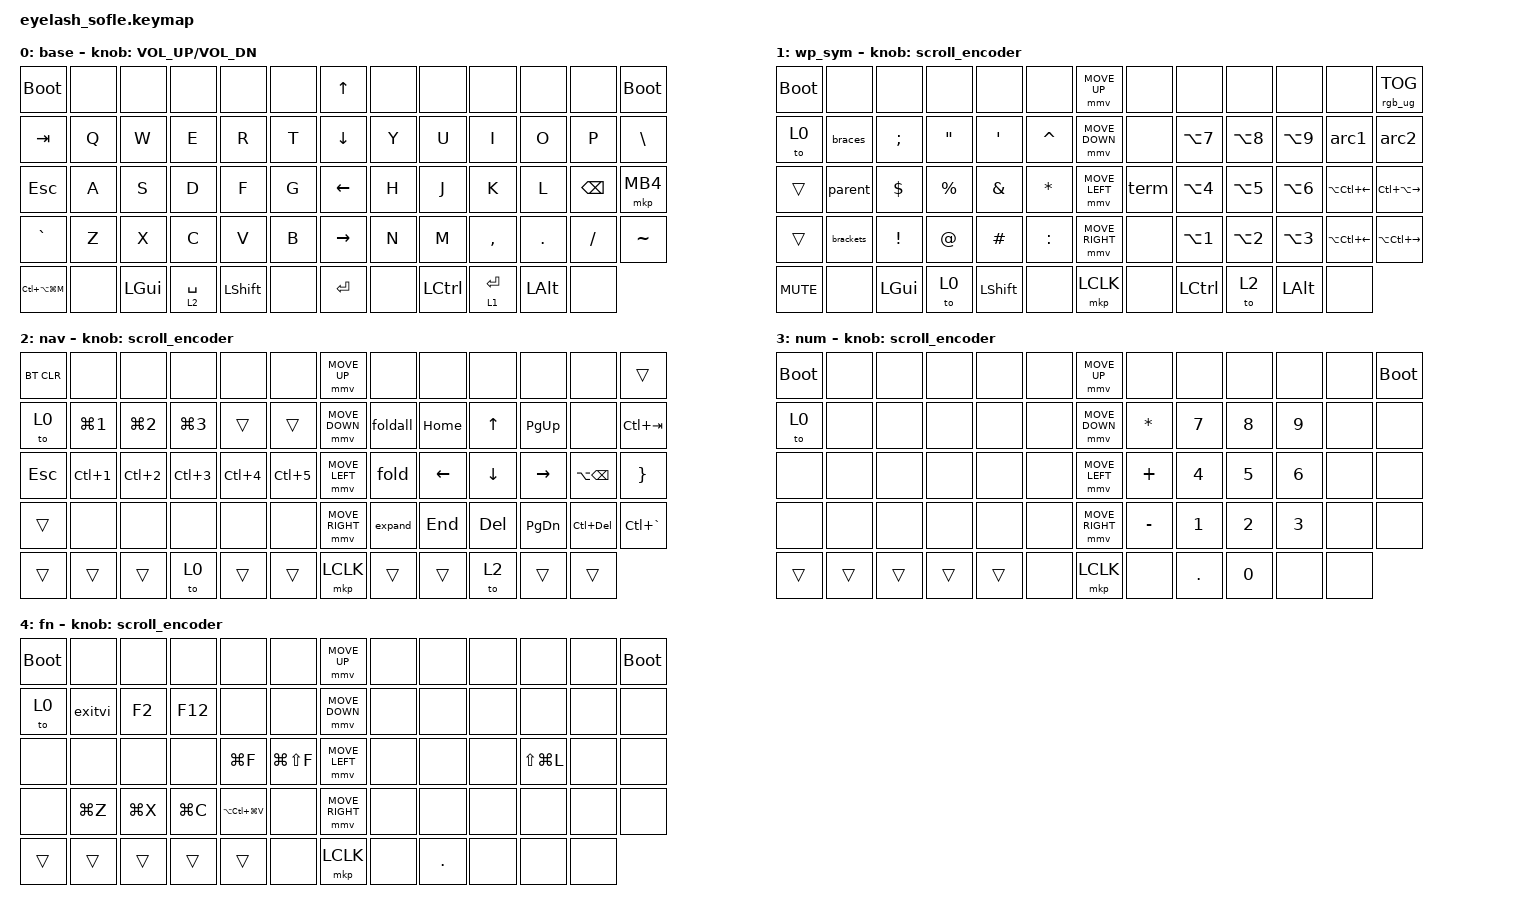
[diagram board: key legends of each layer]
#define ZMK_POINTING_DEFAULT_MOVE_VAL 1200  // 600
#define ZMK_POINTING_DEFAULT_SCRL_VAL 25   // 10

#include <input/processors.dtsi>
#include <zephyr/dt-bindings/input/input-event-codes.h>
#include <behaviors.dtsi>
#include <dt-bindings/zmk/bt.h>
#include <dt-bindings/zmk/keys.h>
#include <dt-bindings/zmk/pointing.h>
#include <dt-bindings/zmk/rgb.h>

&mmv_input_listener { input-processors = <&zip_xy_scaler 2 1>; };

&msc_input_listener { input-processors = <&zip_scroll_scaler 2 1>; };

&msc {
    acceleration-exponent = <1>;      // 0
    time-to-max-speed-ms = <100>;       // 300
    delay-ms = <0>;                   // 0
};

&mmv {
    time-to-max-speed-ms = <500>;
    acceleration-exponent = <1>;
    trigger-period-ms = <16>;
};

/ {
    scroll_encoder: scroll_encoder {
        compatible = "zmk,behavior-sensor-rotate";
        #sensor-binding-cells = <0>;
        bindings = <&msc SCRL_DOWN>, <&msc SCRL_UP>;

        tap-ms = <100>;
    };

    macros {
        braces: braces {
            compatible = "zmk,behavior-macro";
            #binding-cells = <0>;
            bindings = <&kp LEFT_BRACE &kp RBRC &kp LEFT_ARROW>;
            label = "BRACES";
        };

        parent: parent {
            compatible = "zmk,behavior-macro";
            #binding-cells = <0>;
            bindings = <&kp LEFT_PARENTHESIS &kp RIGHT_PARENTHESIS &kp LEFT_ARROW>;
            label = "PARENT";
        };

        brackets: sqbraces {
            compatible = "zmk,behavior-macro";
            #binding-cells = <0>;
            bindings = <&kp LEFT_BRACKET &kp RIGHT_BRACKET &kp LEFT_ARROW>;
            label = "SQBRACES";
        };

        term: term {
            compatible = "zmk,behavior-macro";
            #binding-cells = <0>;
            bindings =
                <&kp LG(LC(LA(T)))>,
                <&macro_wait_time 30>,
                <&kp LA(NUMBER_3)>;

            label = "TERM";
        };

        arc1: arc1 {
            compatible = "zmk,behavior-macro";
            #binding-cells = <0>;
            bindings =
                <&kp LA(NUMBER_1)>,
                <&macro_wait_time 70>,
                <&kp LC(NUMBER_1)>;

            label = "ARC1";
        };

        arc2: arc2 {
            compatible = "zmk,behavior-macro";
            #binding-cells = <0>;
            bindings =
                <&kp LA(NUMBER_1)>,
                <&macro_wait_time 70>,
                <&kp LC(NUMBER_2)>;

            label = "ARC2";
        };

        fold: fold {
            compatible = "zmk,behavior-macro";
            #binding-cells = <0>;
            bindings = <&kp LG(K) &kp LG(LEFT_BRACKET)>;
            label = "FOLD";
        };

        foldall: foldall {
            compatible = "zmk,behavior-macro";
            #binding-cells = <0>;
            bindings = <&kp LG(K) &kp LG(NUMBER_0)>;
            label = "FOLDALL";
        };

        expand: expand {
            compatible = "zmk,behavior-macro";
            #binding-cells = <0>;
            bindings = <&kp LG(K) &kp LG(RIGHT_BRACKET)>;
            label = "EXPAND";
        };

        exitvi: exitvi {
            compatible = "zmk,behavior-macro";
            #binding-cells = <0>;
            bindings = <&kp ESCAPE &kp LS(Z) &kp LS(Z)>;
            label = "EXITVI";
        };
    };

    behaviors {
    };

    combos {
        compatible = "zmk,combos";

        semicolon {
            bindings = <&kp SEMI>;
            key-positions = <18 31>;
        };

        pipe {
            bindings = <&kp PIPE>;
            key-positions = <31 44>;
        };

        mo3 {
            bindings = <&mo 3>;
            key-positions = <30 29 28>;
        };

        mo4 {
            bindings = <&mo 4>;
            key-positions = <47 48 49>;
        };

        dash {
            bindings = <&kp MINUS>;
            key-positions = <30 28>;
        };

        underscore {
            bindings = <&kp UNDER>;
            key-positions = <43 41>;
        };

        plus {
            bindings = <&kp PLUS>;
            key-positions = <34 36>;
        };

        eql {
            bindings = <&kp EQUAL>;
            key-positions = <47 49>;
        };

        slash {
            bindings = <&kp SLASH>;
            key-positions = <29 17>;
        };

        backslash {
            bindings = <&kp BACKSLASH>;
            key-positions = <16 30>;
        };
    };

    keymap {
        compatible = "zmk,keymap";

        base {
            bindings = <
&bootloader        &none  &none         &none        &none           &none    &kp UP_ARROW     &none  &none      &none        &none         &none          &bootloader
&kp TAB            &kp Q  &kp W         &kp E        &kp R           &kp T    &kp DOWN_ARROW   &kp Y  &kp U      &kp I        &kp O         &kp P          &kp BSLH
&kp ESCAPE         &kp A  &kp S         &kp D        &kp F           &kp G    &kp LEFT_ARROW   &kp H  &kp J      &kp K        &kp L         &kp BACKSPACE  &mkp MB4
&kp GRAVE          &kp Z  &kp X         &kp C        &kp V           &kp B    &kp RIGHT_ARROW  &kp N  &kp M      &kp COMMA    &kp DOT       &kp FSLH       &kp TILDE
&kp LC(LA(LG(M)))  &none  &kp LEFT_GUI  &lt 2 SPACE  &kp LEFT_SHIFT  &none    &kp ENTER        &none  &kp LCTRL  &lt 1 ENTER  &kp LEFT_ALT  &none
            >;

            sensor-bindings = <&inc_dec_kp C_VOLUME_UP C_VOL_DN>;
            display-name = "base";
        };

        wp_sym {
            bindings = <
&bootloader  &none      &none            &none              &none             &none        &mmv MOVE_UP     &none  &none             &none             &none             &none                   &rgb_ug RGB_TOG
&to 0        &braces    &kp SEMI         &kp DOUBLE_QUOTES  &kp SINGLE_QUOTE  &kp CARET    &mmv MOVE_DOWN   &none  &kp LA(NUMBER_7)  &kp LA(NUMBER_8)  &kp LA(N9)        &arc1                   &arc2
&trans       &parent    &kp DOLLAR       &kp PERCENT        &kp AMPS          &kp ASTRK    &mmv MOVE_LEFT   &term  &kp LA(NUMBER_4)  &kp LA(NUMBER_5)  &kp LA(NUMBER_6)  &kp LA(LC(LEFT))        &kp LC(LA(RIGHT))
&trans       &brackets  &kp EXCLAMATION  &kp AT_SIGN        &kp HASH          &kp COLON    &mmv MOVE_RIGHT  &none  &kp LA(NUMBER_1)  &kp LA(NUMBER_2)  &kp LA(NUMBER_3)  &kp LA(LC(LEFT_ARROW))  &kp LA(LC(RIGHT))
&kp C_MUTE   &none      &kp LEFT_GUI     &to 0              &kp LEFT_SHIFT    &none        &mkp LCLK        &none  &kp LCTRL         &to 2             &kp LEFT_ALT      &none
            >;

            display-name = "wp_sym";
            sensor-bindings = <&scroll_encoder>;
        };

        nav {
            bindings = <
&bt BT_CLR  &none             &none             &none             &none             &none               &mmv MOVE_UP     &none     &none           &none     &none      &none              &trans
&to 0       &kp LG(NUMBER_1)  &kp LG(NUMBER_2)  &kp LG(NUMBER_3)  &trans            &trans              &mmv MOVE_DOWN   &foldall  &kp HOME        &kp UP    &kp PG_UP  &none              &kp LC(TAB)
&kp ESC     &kp LC(NUMBER_1)  &kp LC(NUMBER_2)  &kp LC(NUMBER_3)  &kp LC(NUMBER_4)  &kp LC(NUMBER_5)    &mmv MOVE_LEFT   &fold     &kp LEFT_ARROW  &kp DOWN  &kp RIGHT  &kp LA(BACKSPACE)  &kp RBRC
&trans      &none             &none             &none             &none             &none               &mmv MOVE_RIGHT  &expand   &kp END         &kp DEL   &kp PG_DN  &kp LC(DEL)        &kp LC(GRAVE)
&trans      &trans            &trans            &to 0             &trans            &trans              &mkp LCLK        &trans    &trans          &to 2     &trans     &trans
            >;

            sensor-bindings = <&scroll_encoder>;
        };

        num {
            bindings = <
&bootloader  &none   &none   &none   &none   &none    &mmv MOVE_UP     &none      &none    &none         &none   &none  &bootloader
&to 0        &none   &none   &none   &none   &none    &mmv MOVE_DOWN   &kp ASTRK  &kp N7   &kp N8        &kp N9  &none  &none
&none        &none   &none   &none   &none   &none    &mmv MOVE_LEFT   &kp PLUS   &kp N4   &kp N5        &kp N6  &none  &none
&none        &none   &none   &none   &none   &none    &mmv MOVE_RIGHT  &kp MINUS  &kp N1   &kp N2        &kp N3  &none  &none
&trans       &trans  &trans  &trans  &trans  &none    &mkp LCLK        &none      &kp DOT  &kp NUMBER_0  &none   &none
            >;

            sensor-bindings = <&scroll_encoder>;
        };

        fn {
            bindings = <
&bootloader  &none      &none      &none      &none              &none            &mmv MOVE_UP     &none  &none    &none  &none          &none  &bootloader
&to 0        &exitvi    &kp F2     &kp F12    &none              &none            &mmv MOVE_DOWN   &none  &none    &none  &none          &none  &none
&none        &none      &none      &none      &kp LG(F)          &kp LG(LS(F))    &mmv MOVE_LEFT   &none  &none    &none  &kp LS(LG(L))  &none  &none
&none        &kp LG(Z)  &kp LG(X)  &kp LG(C)  &kp LA(LC(LG(V)))  &none            &mmv MOVE_RIGHT  &none  &none    &none  &none          &none  &none
&trans       &trans     &trans     &trans     &trans             &none            &mkp LCLK        &none  &kp DOT  &none  &none          &none
            >;

            sensor-bindings = <&scroll_encoder>;
        };
    };
};
